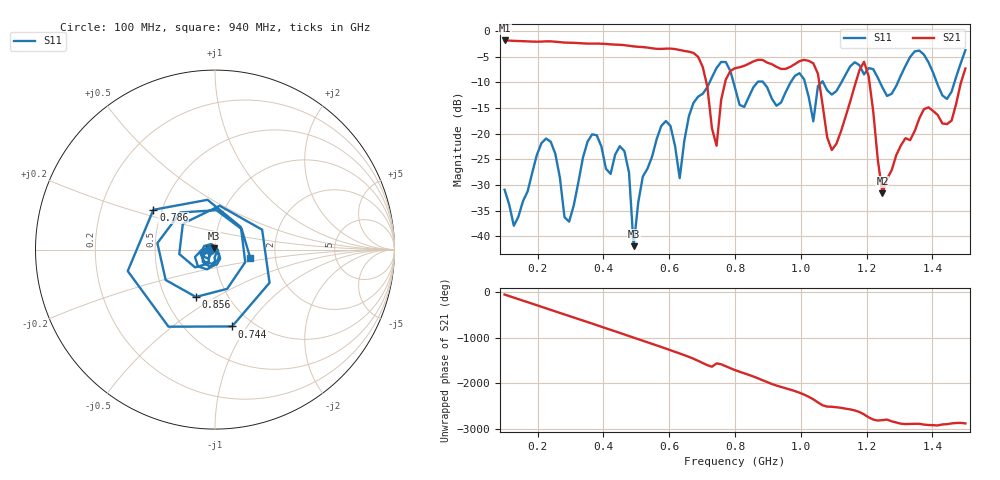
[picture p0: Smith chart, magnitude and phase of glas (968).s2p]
! NanoVNA-App
! Date: 2025-09-25 16:03:00
! Start: 100MHz Stop: 1,5GHz Points: 101
! S-Parameter data: F S11 S21 S12 S22
# Hz S RI R 50
!  Frequency  S11_Real  S11_Imag  S21_Real  S21_Imag  S12_Real  S12_Imag  S22_Real  S22_Imag
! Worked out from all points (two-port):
!   101 points, 100 MHz to 1.5 GHz, reference 50 ohm
!   highest |S21| = -1.80 dB at 100 MHz (marker M1); lowest = -31.6 dB at 1.248 GHz (marker M2)
!   |S21| within 3 dB of the highest: start of sweep to 684.4 MHz
!   lowest |S11| = -41.9 dB at 492 MHz (marker M3), VSWR 1.02, Z = 49.5 + j0.628 ohm
!   |S11| at or under -10 dB: start of sweep to 722.6 MHz; 795.5 MHz to 867.7 MHz (72.19 MHz wide, 8.68 % of centre); 886.3 MHz to 968.8 MHz (82.56 MHz wide, 8.9 % of centre) (the widest 3 of 7)
!   S12 and S22 are empty: the file has one direction only
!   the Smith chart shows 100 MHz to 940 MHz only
!   S11 on the Smith chart (normalised r, x): 100 MHz: 0.94, -0.01; 744 MHz: 0.81, -0.85; 786 MHz: 0.45, +0.24; 856 MHz: 0.71, -0.41; 940 MHz: 1.48, -0.14
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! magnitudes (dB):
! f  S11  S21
! 100 MHz  -30.9  -1.8
! 128 MHz  -37.9  -1.9
! 226 MHz  -20.9  -2.0
! 296 MHz  -37.1  -2.2
! 338 MHz  -24.7  -2.4
! 464 MHz  -23.4  -2.7
! 492 MHz  -41.9  -3.0
! 576 MHz  -18.5  -3.4
! 632 MHz  -28.7  -3.7
! 702 MHz  -12.2  -7.0
! 744 MHz  -7.2  -22.3
! 786 MHz  -7.8  -7.7
! 800 MHz  -11.0  -7.2
! 856 MHz  -10.9  -5.9
! 940 MHz  -13.9  -7.4
! 996 MHz  -8.2  -5.8
! 1.038 GHz  -17.6  -6.3
! 1.094 GHz  -12.4  -23.2
! 1.192 GHz  -8.4  -6.0
! 1.248 GHz  -11.0  -31.6
! 1.276 GHz  -12.2  -27.1
! 1.5 GHz  -3.7  -7.3
